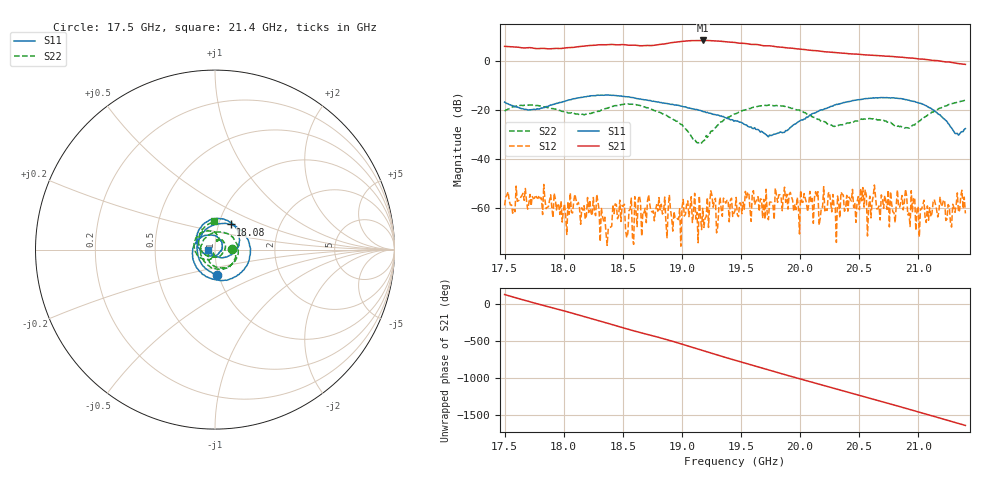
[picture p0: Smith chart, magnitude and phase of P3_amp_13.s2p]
!Created with skrf (http://scikit-rf.org).
# GHz S RI R 50.0
!freq ReS11 ImS11 ReS21 ImS21 ReS12 ImS12 ReS22 ImS22
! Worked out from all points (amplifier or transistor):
!   401 points, 17.5 GHz to 21.4 GHz, reference 50 ohm
!   highest |S21| = 8.3 dB at 19.18 GHz (marker M1)
!   |S21| within 3 dB of that: 18.02 GHz to 19.88 GHz (1.864 GHz wide, 9.84 % of centre)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
!   unconditionally stable (mu >= 1): start of sweep to end of sweep
!   at 18.14 GHz: K = 539.92, MAG = 6.0 dB, |S12| = -66.8 dB
!   at 19.45 GHz: K = 241.59, MAG = 7.5 dB, |S12| = -61.2 dB
!   at 21.4 GHz: K = 760.02, MAG = -1.4 dB, |S12| = -62.4 dB
!   S11 on the Smith chart (normalised r, x): 17.5 GHz: 0.98, -0.29; 18.08 GHz: 1.14, +0.33; 21.4 GHz: 0.92, -0.00
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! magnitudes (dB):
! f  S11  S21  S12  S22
! 17.5 GHz  -16.9  5.9  -59.1  -20.6
! 17.78 GHz  -19.6  4.9  -56.2  -18.3
! 18.01 GHz  -16.6  5.2  -58.4  -20.9
! 18.08 GHz  -15.6  5.4  -62.2  -21.6
! 18.15 GHz  -15.0  5.9  -60.1  -21.9
! 18.27 GHz  -14.2  6.4  -63.3  -20.9
! 18.38 GHz  -14.0  6.6  -68.4  -19.3
! 18.44 GHz  -14.2  6.5  -58.5  -18.3
! 18.54 GHz  -14.7  6.4  -70.4  -17.6
! 18.6 GHz  -15.2  6.4  -55.5  -17.9
! 18.62 GHz  -15.5  6.3  -67.8  -18.1
! 18.68 GHz  -15.9  6.2  -62.2  -18.8
! 18.81 GHz  -16.9  6.6  -55.9  -21.0
! 19.18 GHz  -20.7  8.3  -60.3  -33.0
! 19.26 GHz  -21.9  8.1  -59.9  -28.5
! 19.28 GHz  -22.0  8.1  -56.2  -27.4
! 19.45 GHz  -24.4  7.5  -61.2  -21.7
! 19.56 GHz  -26.8  6.9  -54.1  -19.6
! 19.74 GHz  -30.4  6.1  -57.9  -18.1
! 20.1 GHz  -21.6  4.2  -56.3  -22.9
! 20.76 GHz  -15.1  1.8  -67.9  -25.3
! 21.4 GHz  -27.7  -1.5  -62.4  -16.1
